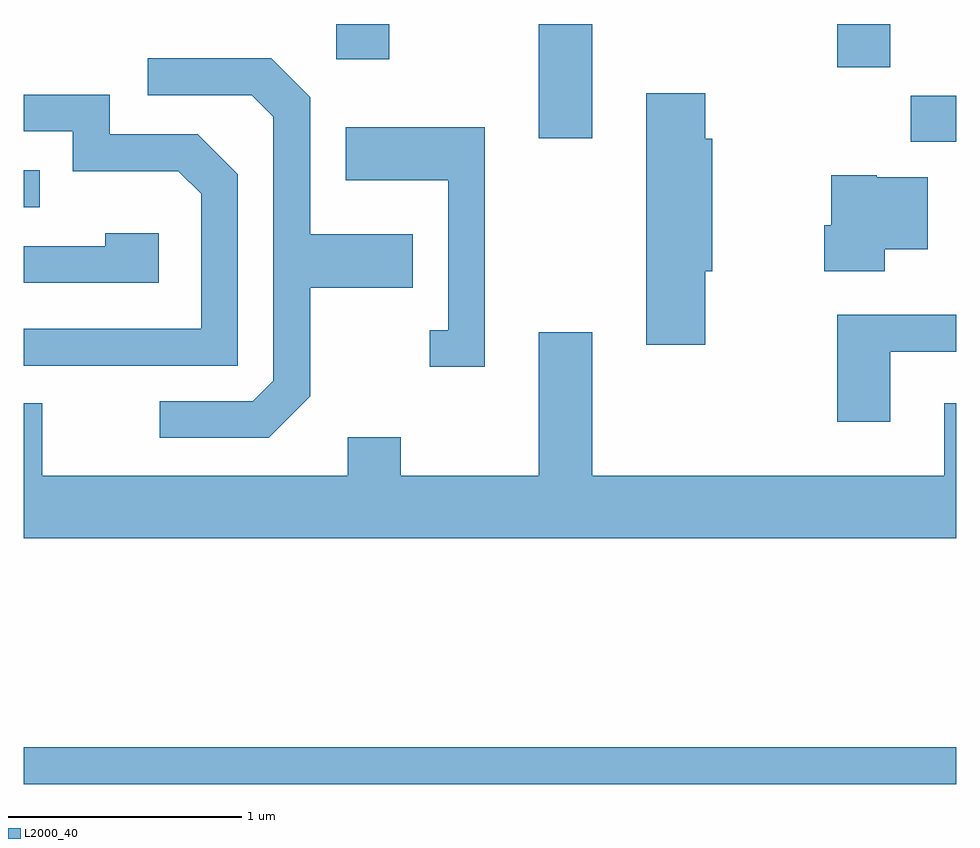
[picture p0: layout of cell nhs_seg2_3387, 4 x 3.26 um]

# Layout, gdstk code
import gdstk
lib = gdstk.Library(unit=1e-6, precision=1e-09)
def R(c, l, rs):  # rectangles x0, y0, x1, y1
    for r in rs: c.add(gdstk.rectangle(r[:2], r[2:], *l))
def P(c, l, *ps):  # polygons
    for p in ps: c.add(gdstk.Polygon(p, *l))
L2000_40 = (2000, 40)

nhs_seg2_3387 = lib.new_cell('nhs_seg2_3387')
R(nhs_seg2_3387, L2000_40, [(283.611,1100.541,287.611,1100.699), (283.611,1103.016,283.678,1103.174), (287.416,1103.296,287.611,1103.494), (285.821,1103.311,286.049,1103.802), (287.101,1103.616,287.329,1103.802), (284.951,1103.651,285.179,1103.802)])
P(nhs_seg2_3387, L2000_40, [(284.839,1102.204),(284.839,1102.671),(285.279,1102.671),(285.279,1102.899),(284.839,1102.899),(284.839,1103.487),(284.672,1103.654),(284.143,1103.654),(284.143,1103.496),(284.589,1103.496),(284.681,1103.404),(284.681,1102.272),(284.594,1102.184),(284.193,1102.184),(284.193,1102.026),(284.662,1102.026)],
  [(286.534,1102.741),(286.564,1102.741),(286.564,1103.309),(286.534,1103.309),(286.534,1103.504),(286.281,1103.504),(286.281,1102.426),(286.534,1102.426)],
  [(284.529,1103.157),(284.357,1103.329),(283.979,1103.329),(283.979,1103.499),(283.611,1103.499),(283.611,1103.341),(283.821,1103.341),(283.821,1103.171),(284.274,1103.171),(284.371,1103.074),(284.371,1102.494),(283.611,1102.494),(283.611,1102.336),(284.529,1102.336)],
  [(285.589,1103.359),(284.991,1103.359),(284.991,1103.131),(285.431,1103.131),(285.431,1102.489),(285.353,1102.489),(285.353,1102.331),(285.589,1102.331)],
  [(287.304,1102.836),(287.489,1102.836),(287.489,1103.144),(287.27,1103.144),(287.27,1103.154),(287.076,1103.154),(287.076,1102.939),(287.046,1102.939),(287.046,1102.741),(287.304,1102.741)],
  [(284.189,1102.904),(283.961,1102.904),(283.961,1102.849),(283.611,1102.849),(283.611,1102.691),(284.189,1102.691)],
  [(287.329,1102.396),(287.611,1102.396),(287.611,1102.554),(287.101,1102.554),(287.101,1102.096),(287.329,1102.096)],
  [(287.611,1102.174),(287.561,1102.174),(287.561,1101.864),(286.049,1101.864),(286.049,1102.479),(285.821,1102.479),(285.821,1101.864),(285.229,1101.864),(285.229,1102.029),(285.001,1102.029),(285.001,1101.864),(283.689,1101.864),(283.689,1102.174),(283.611,1102.174),(283.611,1101.596),(287.611,1101.596)])

lib.write_gds('nhs_seg2_3387.gds')
